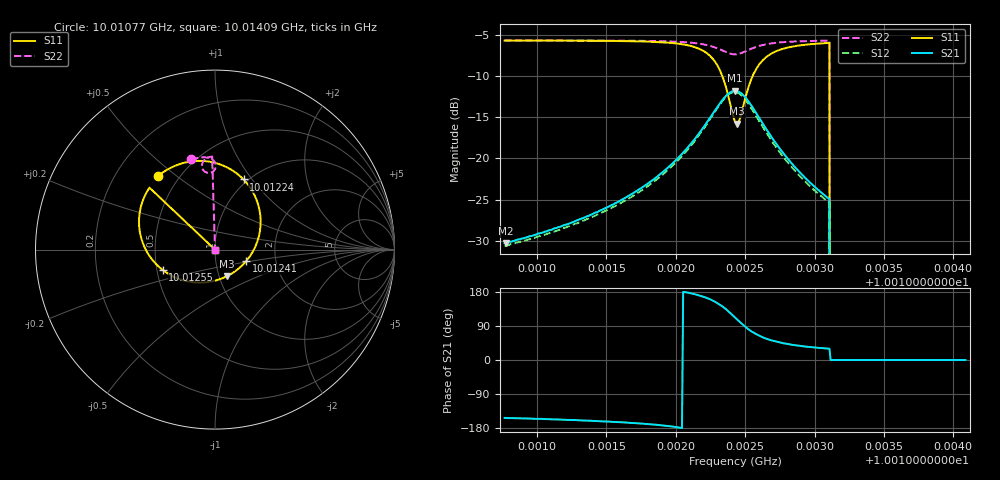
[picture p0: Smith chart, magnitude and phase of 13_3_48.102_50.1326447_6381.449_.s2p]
#  HZ  S  RI  R  50.00
! Rohde & Schwarz Vector Network Analyzer
! Rohde-Schwarz,ZNB20-2Port,1311601062101988,3.16
! Created: UTC 12/23/2023, 3:35:51 AM
! freq[Hz]  re:S11  im:S11  re:S21  im:S21  re:S12  im:S12  re:S22  im:S22
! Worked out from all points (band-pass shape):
!   401 points, 10.01077 GHz to 10.01409 GHz, reference 50 ohm
!   highest |S21| = -11.79 dB at 10.01243 GHz (marker M1); lowest = -30.3 dB at 10.01077 GHz (marker M2)
!   |S21| within 3 dB of the highest: 10.01226 GHz to 10.01259 GHz (332.7 kHz wide, 0.00332 % of centre)
!   lowest |S11| = -15.8 dB at 10.01244 GHz (marker M3), VSWR 1.39, Z = 54.5 - j16.6 ohm
!   |S11| at or under -10 dB: 10.01233 GHz to 10.01255 GHz (218.9 kHz wide, 0.00219 % of centre); 10.01311 GHz to end of sweep
!   |S22| runs from - to -5.7 dB; largest |S21 - S12| = 0.011
!   S11 on the Smith chart (normalised r, x): 10.01077 GHz: 0.38, +0.43; 10.01224 GHz: 0.96, +0.91; 10.01241 GHz: 1.40, -0.19; 10.01255 GHz: 0.54, -0.14; 10.01409 GHz: 1.00, +0.00
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1.0010766e10  -0.3158 0.4119  -0.0272 -0.014  -0.0253 -0.0149  -0.1326 0.5027
1.0010774e10  -0.315 0.4126  -0.0272 -0.0139  -0.0255 -0.015  -0.1319 0.5029
1.0011322e10  -0.2574 0.4502  -0.0406 -0.0151  -0.0381 -0.0166  -0.0936 0.5113
1.0011638e10  -0.2028 0.4744  -0.0559 -0.015  -0.0529 -0.0173  -0.0687 0.5139
1.0011878e10  -0.1311 0.4915  -0.0784 -0.0113  -0.0749 -0.0152  -0.046 0.5132
1.0012111e10  0.00983 0.4807  -0.1231 0.00868  -0.1199 0.00167  -0.0176 0.5039
1.0012244e10  0.1591 0.3906  -0.1651 0.0578  -0.1647 0.0481  0.000996 0.4831
1.0012294e10  0.2212 0.3012  -0.177 0.0975  -0.1789 0.0865  0.00458 0.4682
1.0012343e10  0.2541 0.1637  -0.1748 0.15  -0.1788 0.1403  0.000767 0.4494
1.001241e10  0.1731 -0.0651  -0.1201 0.226  -0.126 0.2182  -0.0231 0.4287
1.0012426e10  0.1236 -0.1124  -0.097 0.2384  -0.1027 0.231  -0.0318 0.4272
1.0012443e10  0.0665 -0.1484  -0.0726 0.2455  -0.0772 0.2389  -0.0405 0.4278
1.0012493e10  -0.1209 -0.182  -0.000528 0.2392  -0.00566 0.2321  -0.0621 0.4391
1.0012551e10  -0.2905 -0.1143  0.056 0.1978  0.0495 0.1913  -0.0726 0.4605
1.0012609e10  -0.379 -0.0128  0.0786 0.153  0.0713 0.1478  -0.0714 0.4789
1.0012684e10  -0.4189 0.0991  0.0839 0.1085  0.0761 0.1057  -0.0631 0.4946
1.0012808e10  -0.4172 0.2196  0.0737 0.0664  0.0674 0.0657  -0.0473 0.5082
1.0012983e10  -0.387 0.3079  0.0578 0.0386  0.0531 0.039  -0.0279 0.5162
1.0013091e10  -0.3681 0.341  0.0502 0.0292  0.0463 0.0298  -0.0174 0.5186
1.0013132e10  0 0  0 0  0 0  0 0
1.0013539e10  0 0  0 0  0 0  0 0
1.0014087e10  0 0  0 0  0 0  0 0
